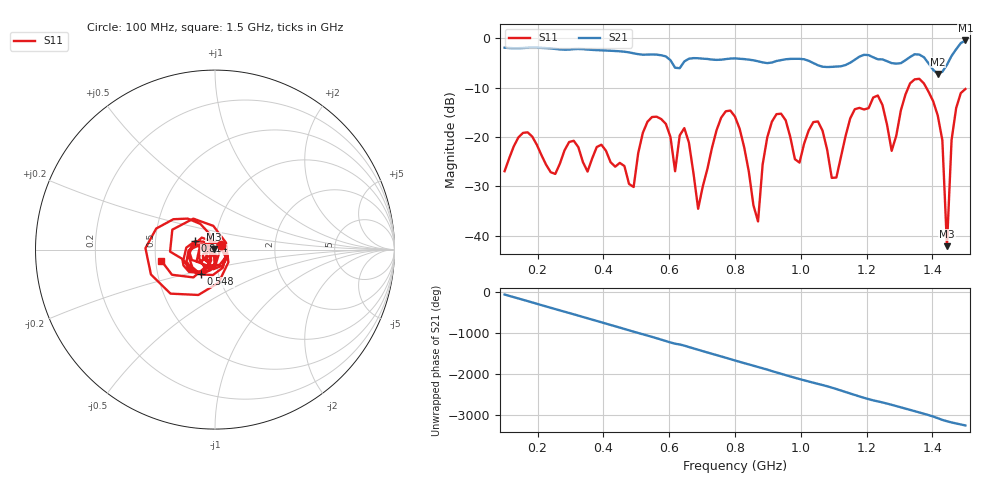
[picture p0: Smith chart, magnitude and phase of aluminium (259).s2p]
! NanoVNA-App
! Date: 2025-09-25 14:57:18
! Start: 100MHz Stop: 1,5GHz Points: 101
! S-Parameter data: F S11 S21 S12 S22
# Hz S RI R 50
!  Frequency  S11_Real  S11_Imag  S21_Real  S21_Imag  S12_Real  S12_Imag  S22_Real  S22_Imag
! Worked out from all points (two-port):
!   101 points, 100 MHz to 1.5 GHz, reference 50 ohm
!   highest |S21| = -0.46 dB at 1.5 GHz (marker M1); lowest = -7.2 dB at 1.416 GHz (marker M2)
!   |S21| within 3 dB of the highest: start of sweep to 575.6 MHz; 1.459 GHz to end of sweep (the widest 2 of 4)
!   lowest |S11| = -42.2 dB at 1.444 GHz (marker M3), VSWR 1.02, Z = 49.3 + j0.412 ohm
!   |S11| at or under -10 dB: start of sweep to 1.327 GHz; 1.381 GHz to end of sweep
!   S12 and S22 are empty: the file has one direction only
!   S11 on the Smith chart (normalised r, x): 100 MHz: 1.07, +0.06; 548 MHz: 0.82, -0.23; 814 MHz: 0.80, +0.07; 1.5 GHz: 0.54, -0.07
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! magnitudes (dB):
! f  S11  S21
! 100 MHz  -27.0  -1.9
! 338 MHz  -25.1  -2.2
! 492 MHz  -30.2  -3.1
! 548 MHz  -16.0  -3.3
! 576 MHz  -16.4  -3.5
! 618 MHz  -27.0  -6.0
! 646 MHz  -18.2  -4.7
! 688 MHz  -34.6  -4.1
! 800 MHz  -15.9  -4.1
! 814 MHz  -18.3  -4.2
! 870 MHz  -37.1  -4.7
! 912 MHz  -16.9  -4.9
! 1.038 GHz  -17.0  -5.0
! 1.108 GHz  -28.2  -5.7
! 1.234 GHz  -11.6  -4.3
! 1.276 GHz  -22.8  -5.1
! 1.346 GHz  -8.3  -3.2
! 1.416 GHz  -15.7  -7.2
! 1.43 GHz  -20.7  -6.8
! 1.444 GHz  -42.2  -5.4
! 1.458 GHz  -20.6  -3.6
! 1.5 GHz  -10.3  -0.5
